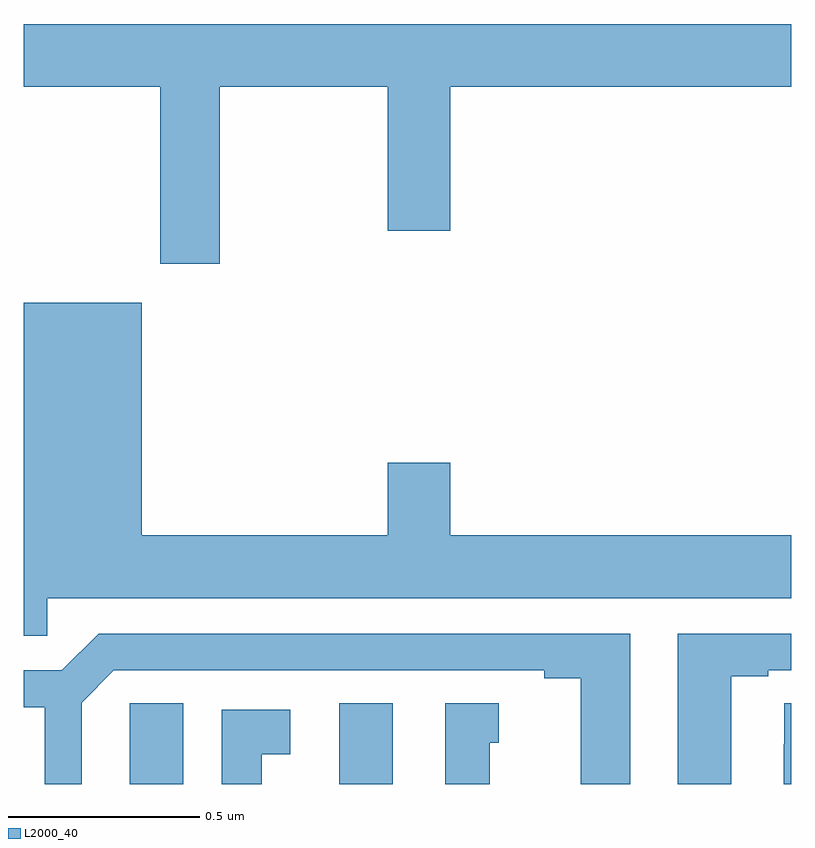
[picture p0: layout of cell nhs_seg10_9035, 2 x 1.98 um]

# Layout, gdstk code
import gdstk
lib = gdstk.Library(unit=1e-6, precision=1e-09)
def R(c, l, rs):  # rectangles x0, y0, x1, y1
    for r in rs: c.add(gdstk.rectangle(r[:2], r[2:], *l))
def P(c, l, *ps):  # polygons
    for p in ps: c.add(gdstk.Polygon(p, *l))
L2000_40 = (2000, 40)

nhs_seg10_9035 = lib.new_cell('nhs_seg10_9035')
R(nhs_seg10_9035, L2000_40, [(224.822,1298.5,224.962,1298.71)])
P(nhs_seg10_9035, L2000_40, [(224.511,1300.316),(224.948,1300.316),(224.948,1299.942),(225.112,1299.942),(225.112,1300.316),(226,1300.316),(226,1300.48),(224,1300.48),(224,1300.316),(224.356,1300.316),(224.356,1299.855),(224.511,1299.855)],
  [(224.061,1298.984),(226,1298.984),(226,1299.148),(225.112,1299.148),(225.112,1299.337),(224.948,1299.337),(224.948,1299.148),(224.308,1299.148),(224.308,1299.754),(224,1299.754),(224,1298.886),(224.061,1298.886)],
  [(224.151,1298.712),(224.235,1298.796),(225.356,1298.796),(225.356,1298.776),(225.452,1298.776),(225.452,1298.5),(225.58,1298.5),(225.58,1298.892),(224.195,1298.892),(224.099,1298.796),(224,1298.796),(224,1298.7),(224.055,1298.7),(224.055,1298.5),(224.151,1298.5)],
  [(225.844,1298.781),(225.94,1298.781),(225.94,1298.796),(226,1298.796),(226,1298.892),(225.704,1298.892),(225.704,1298.5),(225.844,1298.5)],
  [(226,1298.711),(225.981,1298.711),(225.981,1298.603),(225.98,1298.603),(225.98,1298.5),(226,1298.5)],
  [(224.416,1298.711),(224.277,1298.711),(224.277,1298.603),(224.276,1298.603),(224.276,1298.5),(224.416,1298.5)],
  [(225.214,1298.607),(225.238,1298.607),(225.238,1298.71),(225.098,1298.71),(225.098,1298.5),(225.214,1298.5)],
  [(224.62,1298.578),(224.695,1298.578),(224.695,1298.694),(224.516,1298.694),(224.516,1298.5),(224.62,1298.5)])

lib.write_gds('nhs_seg10_9035.gds')
